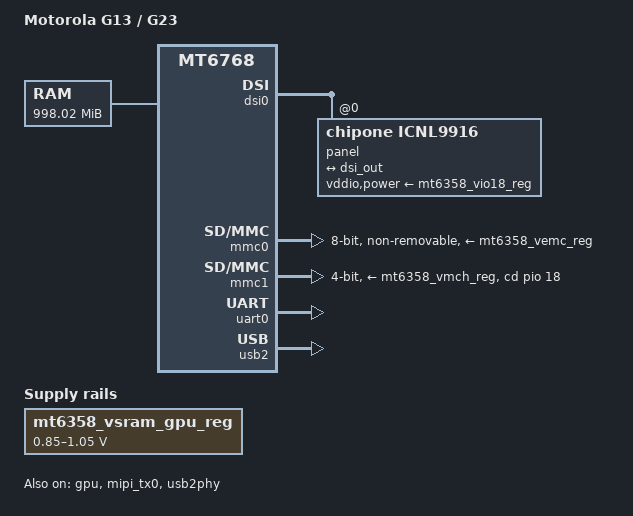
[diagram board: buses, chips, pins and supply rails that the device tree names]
// SPDX-License-Identifier: GPL-2.0-only
/*
 * Device Tree Source for Motorola G13 / G23
 *
 * Copyright (c) 2025 Roger Ortiz
 */

/dts-v1/;

#include <dt-bindings/gpio/gpio.h>
#include <dt-bindings/leds/common.h>
#include <dt-bindings/iio/adc/mediatek,mt6370_adc.h>
#include <dt-bindings/usb/pd.h>

#include "mt6769z.dtsi"
#include "mt6358.dtsi"

/ {
	model = "Motorola G13 / G23";
	compatible = "motorola,penangf", "mediatek,mt6769z", "mediatek,mt6768";

	aliases {
		serial0 = &uart0;
	};

	chosen {
		framebuffer0: framebuffer@7b250000 {
			//compatible = "simple-framebuffer";
			reg = <0 0x7b250000 0 (736*1600*4)>;
			width = <736>;
			height = <1600>;
			stride = <(736 * 4)>;
			format = "a8r8g8b8";
			status = "disabled";
			no-map;
		};
	};

	memory@40000000 {
		device_type = "memory";
		reg = <0x0 0x40000000 0x0 0x3e605000>;
	};
};

&mt6358_vdram2_reg {
	regulator-always-on;
};

&cci {
	proc-supply = <&mt6358_vproc12_reg>;
};

&cpu0 {
	proc-supply = <&mt6358_vproc12_reg>;
};

&cpu1 {
	proc-supply = <&mt6358_vproc12_reg>;
};

&cpu2 {
	proc-supply = <&mt6358_vproc12_reg>;
};

&cpu3 {
	proc-supply = <&mt6358_vproc12_reg>;
};

&cpu4 {
	proc-supply = <&mt6358_vproc12_reg>;
};

&cpu5 {
	proc-supply = <&mt6358_vproc12_reg>;
};

&cpu6 {
	proc-supply = <&mt6358_vproc11_reg>;
};

&cpu7 {
	proc-supply = <&mt6358_vproc11_reg>;
};

// For some reason devapc (and others?) make the kernel hang
// at random places and prevents it from booting at all.

&dsi0 {
	status = "okay";
	#address-cells = <1>;
	#size-cells = <0>;

	panel: panel@0 {
		compatible = "chipone,icnl9916";
		reg = <0>;
		vddio-supply = <&mt6358_vio18_reg>;
		power-supply = <&mt6358_vio18_reg>;

		port {
			panel_in: endpoint {
				remote-endpoint = <&dsi_out>;
			};
		};
	};
};

&dsi_out {
	remote-endpoint = <&panel_in>;
};

&gpu {
	status = "okay";
	mali-supply = <&mt6358_vgpu_reg>;
};

&mt6358_vgpu_reg {
	regulator-max-microvolt = <950000>;
	regulator-always-on;
	regulator-boot-on;

	regulator-coupled-with = <&mt6358_vsram_gpu_reg>;
	regulator-coupled-max-spread = <100000>;
};

&mt6358_vsram_gpu_reg {
	regulator-min-microvolt = <850000>;
	regulator-max-microvolt = <1050000>;
	regulator-always-on;
	regulator-boot-on;

	regulator-coupled-with = <&mt6358_vgpu_reg>;
	regulator-coupled-max-spread = <100000>;
};

&mipi_tx0 {
	status = "okay";
};

&mmc0 {
	status = "okay";
	pinctrl-names = "default", "state_uhs";
	pinctrl-0 = <&mmc0_default_pins>;
	pinctrl-1 = <&mmc0_uhs_pins>;
	bus-width = <8>;
	max-frequency = <200000000>;
	cap-mmc-highspeed;
	mmc-ddr-1_8v;
	mmc-hs200-1_8v;
	mmc-hs400-1_8v;
	cap-mmc-hw-reset;
	no-sdio;
	no-sd;
	non-removable;
	supports-cqe;
	hs400-ds-delay = <0x12814>;
	vmmc-supply = <&mt6358_vemc_reg>;
	vqmmc-supply = <&mt6358_vio18_reg>;
};

&mmc1 {
	status = "okay";
	pinctrl-names = "default", "state_uhs";
	pinctrl-0 = <&mmc1_default_pins>;
	pinctrl-1 = <&mmc1_uhs_pins>;
	bus-width = <4>;
	max-frequency = <200000000>;
	cap-sd-highspeed;
	sd-uhs-sdr12;
	sd-uhs-sdr25;
	sd-uhs-sdr50;
	sd-uhs-sdr104;
	sd-uhs-ddr50;
	no-mmc;
	no-sdio;
	cd-gpios = <&pio 18 GPIO_ACTIVE_HIGH>;
	vmmc-supply = <&mt6358_vmch_reg>;
	vqmmc-supply = <&mt6358_vmc_reg>;
};

&pio {
	mmc0_default_pins: mmc0-default-pins {
		pins-clk {
			pinmux = <PINMUX_GPIO124__FUNC_MSDC0_CLK>;
			drive-strength = <MTK_DRIVE_4mA>;
			bias-pull-down = <MTK_PUPD_SET_R1R0_10>;
		};

		pins-cmd-dat {
			pinmux = <PINMUX_GPIO123__FUNC_MSDC0_DAT0>,
				 <PINMUX_GPIO128__FUNC_MSDC0_DAT1>,
				 <PINMUX_GPIO125__FUNC_MSDC0_DAT2>,
				 <PINMUX_GPIO132__FUNC_MSDC0_DAT3>,
				 <PINMUX_GPIO126__FUNC_MSDC0_DAT4>,
				 <PINMUX_GPIO129__FUNC_MSDC0_DAT5>,
				 <PINMUX_GPIO127__FUNC_MSDC0_DAT6>,
				 <PINMUX_GPIO130__FUNC_MSDC0_DAT7>,
				 <PINMUX_GPIO122__FUNC_MSDC0_CMD>;
			input-enable;
			drive-strength = <MTK_DRIVE_4mA>;
			bias-pull-up = <MTK_PUPD_SET_R1R0_01>;
		};

		pins-ds {
			pinmux = <PINMUX_GPIO131__FUNC_MSDC0_DSL>;
			drive-strength = <MTK_DRIVE_4mA>;
		};

		pins-rst {
			pinmux = <PINMUX_GPIO133__FUNC_MSDC0_RSTB>;
			drive-strength = <MTK_DRIVE_6mA>;
			bias-pull-up = <MTK_PUPD_SET_R1R0_01>;
		};
	};

	mmc0_uhs_pins: mmc0-uhs-pins {
		pins-clk {
			pinmux = <PINMUX_GPIO124__FUNC_MSDC0_CLK>;
			drive-strength = <MTK_DRIVE_8mA>;
			bias-pull-down = <MTK_PUPD_SET_R1R0_10>;
		};

		pins-cmd-dat {
			pinmux = <PINMUX_GPIO123__FUNC_MSDC0_DAT0>,
				 <PINMUX_GPIO122__FUNC_MSDC0_CMD>;
			input-enable;
			drive-strength = <MTK_DRIVE_8mA>;
			bias-pull-up = <MTK_PUPD_SET_R1R0_01>;
		};

		pins-ds {
			pinmux = <PINMUX_GPIO131__FUNC_MSDC0_DSL>;
			drive-strength = <MTK_DRIVE_8mA>;
			bias-pull-down = <MTK_PUPD_SET_R1R0_10>;
		};

		pins-rst {
			pinmux = <PINMUX_GPIO133__FUNC_MSDC0_RSTB>;
			drive-strength = <MTK_DRIVE_8mA>;
			bias-pull-up = <MTK_PUPD_SET_R1R0_01>;
		};
	};

	mmc1_default_pins: mmc1-default-pins {
		pins-cmd-dat {
			pinmux = <PINMUX_GPIO164__FUNC_MSDC1_DAT0>,
				 <PINMUX_GPIO163__FUNC_MSDC1_DAT1>,
				 <PINMUX_GPIO162__FUNC_MSDC1_DAT2>,
				 <PINMUX_GPIO161__FUNC_MSDC1_DAT3>,
				 <PINMUX_GPIO170__FUNC_MSDC1_CMD>;
			input-enable;
			drive-strength = <MTK_DRIVE_4mA>;
			bias-pull-up = <MTK_PUPD_SET_R1R0_01>;
		};

		pins-clk {
			pinmux = <PINMUX_GPIO171__FUNC_MSDC1_CLK>;
			drive-strength = <MTK_DRIVE_4mA>;
			bias-pull-down = <MTK_PUPD_SET_R1R0_10>;
		};

		pins-insert {
			pinmux = <PINMUX_GPIO18__FUNC_GPIO18>;
			bias-pull-up;
		};
	};

	mmc1_uhs_pins: mmc1-uhs-pins {
		pins-cmd-dat {
			pinmux = <PINMUX_GPIO164__FUNC_MSDC1_DAT0>,
				 <PINMUX_GPIO163__FUNC_MSDC1_DAT1>,
				 <PINMUX_GPIO162__FUNC_MSDC1_DAT2>,
				 <PINMUX_GPIO161__FUNC_MSDC1_DAT3>,
				 <PINMUX_GPIO170__FUNC_MSDC1_CMD>;
			input-enable;
			drive-strength = <MTK_DRIVE_4mA>;
			bias-pull-up = <MTK_PUPD_SET_R1R0_01>;
		};

		pins-clk {
			pinmux = <PINMUX_GPIO171__FUNC_MSDC1_CLK>;
			drive-strength = <MTK_DRIVE_4mA>;
		};
	};
};

&pmic {
	interrupts-extended = <&pio 144 IRQ_TYPE_LEVEL_HIGH>;
};

/* Serial */
&uart0 {
	status = "okay";
};

/* USB */
&usb2 {
	status = "okay";
};

&usb2phy {
	status = "okay";
};
